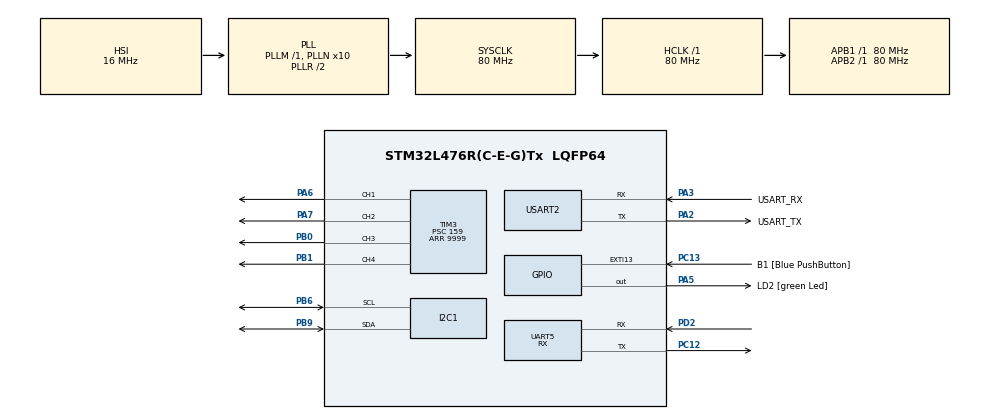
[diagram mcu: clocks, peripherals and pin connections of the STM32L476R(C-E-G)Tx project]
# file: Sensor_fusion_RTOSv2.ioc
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Dma.I2C1_RX.0.Direction=DMA_PERIPH_TO_MEMORY
Dma.I2C1_RX.0.Instance=DMA1_Channel7
Dma.I2C1_RX.0.MemDataAlignment=DMA_MDATAALIGN_BYTE
Dma.I2C1_RX.0.MemInc=DMA_MINC_ENABLE
Dma.I2C1_RX.0.Mode=DMA_NORMAL
Dma.I2C1_RX.0.PeriphDataAlignment=DMA_PDATAALIGN_BYTE
Dma.I2C1_RX.0.PeriphInc=DMA_PINC_DISABLE
Dma.I2C1_RX.0.Priority=DMA_PRIORITY_LOW
Dma.Request0=I2C1_RX
Dma.Request1=UART5_RX
Dma.UART5_RX.1.Direction=DMA_PERIPH_TO_MEMORY
Dma.UART5_RX.1.Instance=DMA2_Channel2
Dma.UART5_RX.1.MemDataAlignment=DMA_MDATAALIGN_BYTE
Dma.UART5_RX.1.MemInc=DMA_MINC_ENABLE
Dma.UART5_RX.1.Mode=DMA_CIRCULAR
Dma.UART5_RX.1.PeriphDataAlignment=DMA_PDATAALIGN_BYTE
Dma.UART5_RX.1.PeriphInc=DMA_PINC_DISABLE
Dma.UART5_RX.1.Priority=DMA_PRIORITY_LOW
FREERTOS.BinarySemaphores01=initDoneSem,Dynamic,NULL,Available
FREERTOS.Queues01=rawSensorQueue,5,uint32_t,0,Dynamic,NULL,NULL;orientationQueue,5,uint32_t,0,Dynamic,NULL,NULL;UartDMADataQueue,1,uint32_t,0,Dynamic,NULL,NULL
FREERTOS.Tasks01=SensorTask,0,1024,StartDefaultTask,Default,NULL,Dynamic,NULL,NULL;Fusion_Sensor_E,1,4096,StartTask02,Default,NULL,Dynamic,NULL,NULL;DiagnosticTask,-2,512,StartDiagnosticTask,Default,NULL,Dynamic,NULL,NULL;Control_Task,1,1024,StartControl_Task,Default,NULL,Dynamic,NULL,NULL;ComunicationTas,-1,256,StartComunicationTask,Default,NULL,Dynamic,NULL,NULL
FREERTOS.configCHECK_FOR_STACK_OVERFLOW=0
FREERTOS.configENABLE_FPU=1
FREERTOS.configGENERATE_RUN_TIME_STATS=1
FREERTOS.configTOTAL_HEAP_SIZE=50000
FREERTOS.configUSE_NEWLIB_REENTRANT=1
FREERTOS.configUSE_STATS_FORMATTING_FUNCTIONS=1
I2C1.Timing=0x10D19CE4
Mcu.Family=STM32L4
Mcu.Name=STM32L476R(C-E-G)Tx
Mcu.Package=LQFP64
NVIC.DMA1_Channel7_IRQn=true\:5\:0\:false\:false\:true\:true\:false\:true\:true
NVIC.DMA2_Channel2_IRQn=true\:5\:0\:false\:false\:true\:true\:false\:true\:true
NVIC.I2C1_ER_IRQn=true\:5\:0\:false\:false\:true\:true\:true\:true\:true
NVIC.I2C1_EV_IRQn=true\:5\:0\:false\:false\:true\:true\:true\:true\:true
NVIC.PriorityGroup=NVIC_PRIORITYGROUP_4
NVIC.TIM6_DAC_IRQn=true\:15\:0\:false\:false\:true\:false\:false\:true\:true
NVIC.TimeBase=TIM6_DAC_IRQn
NVIC.TimeBaseIP=TIM6
NVIC.UART5_IRQn=true\:5\:0\:false\:false\:true\:true\:true\:true\:true
PA13\ (JTMS-SWDIO).GPIO_Label=TMS
PA13\ (JTMS-SWDIO).Mode=Serial_Wire
PA13\ (JTMS-SWDIO).Signal=SYS_JTMS-SWDIO
PA14\ (JTCK-SWCLK).GPIO_Label=TCK
PA14\ (JTCK-SWCLK).Mode=Serial_Wire
PA14\ (JTCK-SWCLK).Signal=SYS_JTCK-SWCLK
PA2.GPIO_Label=USART_TX
PA2.GPIO_Mode=GPIO_MODE_AF_PP
PA2.GPIO_PuPd=GPIO_NOPULL
PA2.GPIO_Speed=GPIO_SPEED_FREQ_VERY_HIGH
PA2.Mode=Asynchronous
PA2.Signal=USART2_TX
PA3.GPIO_Label=USART_RX
PA3.GPIO_Mode=GPIO_MODE_AF_PP
PA3.GPIO_PuPd=GPIO_NOPULL
PA3.GPIO_Speed=GPIO_SPEED_FREQ_VERY_HIGH
PA3.Mode=Asynchronous
PA3.Signal=USART2_RX
PA5.GPIO_Label=LD2 [green Led]
PA5.GPIO_ModeDefaultOutputPP=GPIO_MODE_OUTPUT_PP
PA5.GPIO_PuPd=GPIO_NOPULL
PA5.GPIO_Speed=GPIO_SPEED_FREQ_LOW
PA5.Signal=GPIO_Output
PA6.Signal=S_TIM3_CH1
PA7.Signal=S_TIM3_CH2
PB0.Signal=S_TIM3_CH3
PB1.Signal=S_TIM3_CH4
PB3\ (JTDO-TRACESWO).GPIO_Label=SWO
PB3\ (JTDO-TRACESWO).Signal=SYS_JTDO-SWO
PB6.GPIO_Pu=GPIO_PULLUP
PB6.Mode=I2C
PB6.Signal=I2C1_SCL
PB9.GPIO_Pu=GPIO_PULLUP
PB9.Mode=I2C
PB9.Signal=I2C1_SDA
PC12.Mode=Asynchronous
PC12.Signal=UART5_TX
PC13.GPIO_Label=B1 [Blue PushButton]
PC13.GPIO_ModeDefaultEXTI=GPIO_MODE_IT_FALLING
PC13.GPIO_PuPd=GPIO_NOPULL
PC13.Signal=GPXTI13
PC14-OSC32_IN\ (PC14).Mode=LSE-External-Oscillator
PC14-OSC32_IN\ (PC14).Signal=RCC_OSC32_IN
PC15-OSC32_OUT\ (PC15).Mode=LSE-External-Oscillator
PC15-OSC32_OUT\ (PC15).Signal=RCC_OSC32_OUT
PD2.Mode=Asynchronous
PD2.Signal=UART5_RX
PH0-OSC_IN\ (PH0).Signal=RCC_OSC_IN
PH1-OSC_OUT\ (PH1).Signal=RCC_OSC_OUT
ProjectManager.HeapSize=0x200
ProjectManager.StackSize=0x400
ProjectManager.TargetToolchain=STM32CubeIDE
RCC.ADCFreq_Value=64000000
RCC.AHBFreq_Value=80000000
RCC.APB1Freq_Value=80000000
RCC.APB1TimFreq_Value=80000000
RCC.APB2Freq_Value=80000000
RCC.APB2TimFreq_Value=80000000
RCC.CortexFreq_Value=80000000
RCC.HCLKFreq_Value=80000000
RCC.HSE_VALUE=8000000
RCC.HSI_VALUE=16000000
RCC.MSI_VALUE=4000000
RCC.PLLN=10
RCC.PLLSourceVirtual=RCC_PLLSOURCE_HSI
RCC.PREFETCH_ENABLE=1
RCC.SYSCLKFreq_VALUE=80000000
RCC.SYSCLKSource=RCC_SYSCLKSOURCE_PLLCLK
RCC.USBFreq_Value=64000000
RCC.VCOOutputFreq_Value=160000000
SH.S_TIM3_CH1.0=TIM3_CH1,PWM Generation1 CH1
SH.S_TIM3_CH2.0=TIM3_CH2,PWM Generation2 CH2
SH.S_TIM3_CH3.0=TIM3_CH3,PWM Generation3 CH3
SH.S_TIM3_CH4.0=TIM3_CH4,PWM Generation4 CH4
TIM2.Prescaler=79
TIM3.Channel-PWM\ Generation1\ CH1=TIM_CHANNEL_1
TIM3.Channel-PWM\ Generation2\ CH2=TIM_CHANNEL_2
TIM3.Channel-PWM\ Generation3\ CH3=TIM_CHANNEL_3
TIM3.Channel-PWM\ Generation4\ CH4=TIM_CHANNEL_4
TIM3.Period=9999
TIM3.Prescaler=159
UART5.Mode=MODE_RX
UART5.RxPinLevelInvertParam=UART_ADVFEATURE_RXINV_DISABLE
USART2.VirtualMode-Asynchronous=VM_ASYNC
VP_FREERTOS_VS_CMSIS_V1.Mode=CMSIS_V1
VP_SYS_VS_tim6.Mode=TIM6
VP_TIM2_VS_ClockSourceINT.Mode=Internal
board=NUCLEO-L476RG

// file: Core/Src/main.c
/* USER CODE BEGIN Header */
/**
  ******************************************************************************
  * @file           : main.c
  * @brief          : Main program body
  ******************************************************************************
  * @attention
  *
  * Copyright (c) 2025 STMicroelectronics.
  * All rights reserved.
  *
  * This software is licensed under terms that can be found in the LICENSE file
  * in the root directory of this software component.
  * If no LICENSE file comes with this software, it is provided AS-IS.
  *
  ******************************************************************************
  */
/* USER CODE END Header */
#include "main.h"
#include "cmsis_os.h"
#include "dma.h"
#include "i2c.h"
#include "tim.h"
#include "usart.h"
#include "gpio.h"

void SystemClock_Config(void);
void MX_FREERTOS_Init(void);

/* USER CODE BEGIN 0 */
// Diagnoza użycia cpu
void configureTimerForRunTimeStats(void)
{

    HAL_TIM_Base_Start(&htim2);
}

uint32_t getRunTimeCounterValue(void)
{
    return __HAL_TIM_GET_COUNTER(&htim2);
}

int __io_putchar(int ch)
{
  if (ch == '\n') {
    __io_putchar('\r');
  }
  HAL_UART_Transmit(&huart2, (uint8_t*)&ch, 1, HAL_MAX_DELAY);
  return 1;
}

/* USER CODE END 0 */

int main(void)
{

  /* MCU Configuration--------------------------------------------------------*/

  /* Reset of all peripherals, Initializes the Flash interface and the Systick. */
  HAL_Init();

  /* Configure the system clock */
  SystemClock_Config();

  /* Initialize all configured peripherals */
  MX_GPIO_Init();
  MX_DMA_Init();
  MX_USART2_UART_Init();
  MX_I2C1_Init();
  MX_TIM2_Init();
  MX_TIM3_Init();
  MX_UART5_Init();

  /* Call init function for freertos objects (in cmsis_os2.c) */
  MX_FREERTOS_Init();

  /* Start scheduler */
  osKernelStart();

  /* We should never get here as control is now taken by the scheduler */

  /* Infinite loop */
  while (1)
  {

  }
}

void SystemClock_Config(void)
{
  RCC_OscInitTypeDef RCC_OscInitStruct = {0};
  RCC_ClkInitTypeDef RCC_ClkInitStruct = {0};

  /** Configure the main internal regulator output voltage
  */
  if (HAL_PWREx_ControlVoltageScaling(PWR_REGULATOR_VOLTAGE_SCALE1) != HAL_OK)
  {
    Error_Handler();
  }

  /** Initializes the RCC Oscillators according to the specified parameters
  * in the RCC_OscInitTypeDef structure.
  */
  RCC_OscInitStruct.OscillatorType = RCC_OSCILLATORTYPE_HSI;
  RCC_OscInitStruct.HSIState = RCC_HSI_ON;
  RCC_OscInitStruct.HSICalibrationValue = RCC_HSICALIBRATION_DEFAULT;
  RCC_OscInitStruct.PLL.PLLState = RCC_PLL_ON;
  RCC_OscInitStruct.PLL.PLLSource = RCC_PLLSOURCE_HSI;
  RCC_OscInitStruct.PLL.PLLM = 1;
  RCC_OscInitStruct.PLL.PLLN = 10;
  RCC_OscInitStruct.PLL.PLLP = RCC_PLLP_DIV7;
  RCC_OscInitStruct.PLL.PLLQ = RCC_PLLQ_DIV2;
  RCC_OscInitStruct.PLL.PLLR = RCC_PLLR_DIV2;
  if (HAL_RCC_OscConfig(&RCC_OscInitStruct) != HAL_OK)
  {
    Error_Handler();
  }

  /** Initializes the CPU, AHB and APB buses clocks
  */
  RCC_ClkInitStruct.ClockType = RCC_CLOCKTYPE_HCLK|RCC_CLOCKTYPE_SYSCLK
                              |RCC_CLOCKTYPE_PCLK1|RCC_CLOCKTYPE_PCLK2;
  RCC_ClkInitStruct.SYSCLKSource = RCC_SYSCLKSOURCE_PLLCLK;
  RCC_ClkInitStruct.AHBCLKDivider = RCC_SYSCLK_DIV1;
  RCC_ClkInitStruct.APB1CLKDivider = RCC_HCLK_DIV1;
  RCC_ClkInitStruct.APB2CLKDivider = RCC_HCLK_DIV1;

  if (HAL_RCC_ClockConfig(&RCC_ClkInitStruct, FLASH_LATENCY_4) != HAL_OK)
  {
    Error_Handler();
  }
}

void HAL_TIM_PeriodElapsedCallback(TIM_HandleTypeDef *htim)
{
  if (htim->Instance == TIM6)
  {
    HAL_IncTick();
  }
}

void Error_Handler(void)
{
  __disable_irq();
  while (1)
  {
  }
}

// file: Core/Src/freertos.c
/* USER CODE BEGIN Header */
/**
  ******************************************************************************
  * File Name          : freertos.c
  * Description        : Code for freertos applications
  ******************************************************************************
  * @attention
  *
  * Copyright (c) 2025 STMicroelectronics.
  * All rights reserved.
  *
  * This software is licensed under terms that can be found in the LICENSE file
  * in the root directory of this software component.
  * If no LICENSE file comes with this software, it is provided AS-IS.
  *
  ******************************************************************************
  */
/* USER CODE END Header */

#include "FreeRTOS.h"
#include "task.h"
#include "main.h"
#include "cmsis_os.h"

/* USER CODE BEGIN Includes */
#include <stdio.h>
#include "math.h"
#include "i2c_dma_manager.h"
#include "mpu6500_lib.h"
#include "Ips25hb.h"
#include "common_types.h"
#include "efk_orientation.h"
#include "ekf_altitude.h"
#include "control_task.h"

/* USER CODE END Includes */

/* USER CODE BEGIN Variables */
// Globalne uchwyty z CubeMX
extern I2C_HandleTypeDef hi2c1;
extern TIM_HandleTypeDef htim3;
extern UART_HandleTypeDef huart5;
extern osThreadId defaultTaskHandle;

const float ACCEL_SENSITIVITY = 16384.0f;
const float GYRO_SENSITIVITY = 131.0f;
const float G_CONST = 9.81f;

//Do usunięcia
volatile float g_debug_pitch_deg = 0.0f;
volatile float g_debug_roll_deg = 0.0f;
volatile float g_debug_altitude = 0.0f;
volatile float debug_pwm1 = 0.0f;
volatile float debug_pwm2 = 0.0f;
volatile float debug_pwm3 = 0.0f;
volatile float debug_pwm4 = 0.0f;
volatile float pitch_error_new = 0.0f;
volatile float pitch_error = 0.0f;

/* USER CODE END Variables */
osThreadId SensorTaskHandle;
osThreadId Fusion_Sensor_EHandle;
osThreadId DiagnosticTaskHandle;
osThreadId Control_TaskHandle;
osThreadId ComunicationTasHandle;
osMessageQId rawSensorQueueHandle;
osMessageQId orientationQueueHandle;
osMessageQId UartDMADataQueueHandle;
osSemaphoreId initDoneSemHandle;

void StartDefaultTask(void const * argument);
void StartTask02(void const * argument);
void StartDiagnosticTask(void const * argument);
void StartControl_Task(void const * argument);
void StartComunicationTask(void const * argument);

void MX_FREERTOS_Init(void); /* (MISRA C 2004 rule 8.1) */

/* GetIdleTaskMemory prototype (linked to static allocation support) */
void vApplicationGetIdleTaskMemory( StaticTask_t **ppxIdleTaskTCBBuffer, StackType_t **ppxIdleTaskStackBuffer, uint32_t *pulIdleTaskStackSize );

/* Hook prototypes */
void configureTimerForRunTimeStats(void);
unsigned long getRunTimeCounterValue(void);

/* USER CODE BEGIN 1 */
/* Functions needed when configGENERATE_RUN_TIME_STATS is on */
__weak void configureTimerForRunTimeStats(void)
{

}

__weak unsigned long getRunTimeCounterValue(void)
{
return 0;
}
/* USER CODE END 1 */

/* USER CODE BEGIN GET_IDLE_TASK_MEMORY */
static StaticTask_t xIdleTaskTCBBuffer;
static StackType_t xIdleStack[configMINIMAL_STACK_SIZE];

void vApplicationGetIdleTaskMemory( StaticTask_t **ppxIdleTaskTCBBuffer, StackType_t **ppxIdleTaskStackBuffer, uint32_t *pulIdleTaskStackSize )
{
  *ppxIdleTaskTCBBuffer = &xIdleTaskTCBBuffer;
  *ppxIdleTaskStackBuffer = &xIdleStack[0];
  *pulIdleTaskStackSize = configMINIMAL_STACK_SIZE;
  /* place for user code */
}
/* USER CODE END GET_IDLE_TASK_MEMORY */

void MX_FREERTOS_Init(void) {
  /* USER CODE BEGIN Init */
	I2C_DMA_Manager_Init();

  /* USER CODE END Init */

  /* Create the semaphores(s) */
  /* definition and creation of initDoneSem */
  osSemaphoreDef(initDoneSem);
  initDoneSemHandle = osSemaphoreCreate(osSemaphore(initDoneSem), 1);

  /* USER CODE BEGIN RTOS_SEMAPHORES */
  osSemaphoreWait(initDoneSemHandle, 0);

  /* add semaphores, ... */
  /* USER CODE END RTOS_SEMAPHORES */

  /* Create the queue(s) */
  /* definition and creation of rawSensorQueue */
  osMessageQDef(rawSensorQueue, 5, uint32_t);
  rawSensorQueueHandle = osMessageCreate(osMessageQ(rawSensorQueue), NULL);

  /* definition and creation of orientationQueue */
  osMessageQDef(orientationQueue, 5, uint32_t);
  orientationQueueHandle = osMessageCreate(osMessageQ(orientationQueue), NULL);

  /* definition and creation of UartDMADataQueue */
  osMessageQDef(UartDMADataQueue, 1, uint32_t);
  UartDMADataQueueHandle = osMessageCreate(osMessageQ(UartDMADataQueue), NULL);

  /* Create the thread(s) */
  /* definition and creation of SensorTask */
  osThreadDef(SensorTask, StartDefaultTask, osPriorityNormal, 0, 1024);
  SensorTaskHandle = osThreadCreate(osThread(SensorTask), NULL);

  /* definition and creation of Fusion_Sensor_E */
  osThreadDef(Fusion_Sensor_E, StartTask02, osPriorityAboveNormal, 0, 4096);
  Fusion_Sensor_EHandle = osThreadCreate(osThread(Fusion_Sensor_E), NULL);

  /* definition and creation of DiagnosticTask */
  osThreadDef(DiagnosticTask, StartDiagnosticTask, osPriorityLow, 0, 512);
  DiagnosticTaskHandle = osThreadCreate(osThread(DiagnosticTask), NULL);

  /* definition and creation of Control_Task */
  osThreadDef(Control_Task, StartControl_Task, osPriorityAboveNormal, 0, 1024);
  Control_TaskHandle = osThreadCreate(osThread(Control_Task), NULL);

  /* definition and creation of ComunicationTas */
  osThreadDef(ComunicationTas, StartComunicationTask, osPriorityBelowNormal, 0, 256);
  ComunicationTasHandle = osThreadCreate(osThread(ComunicationTas), NULL);

}

void StartDefaultTask(void const * argument)
{
  /* USER CODE BEGIN StartDefaultTask */
    osSemaphoreWait(initDoneSemHandle, osWaitForever);

    static volatile uint8_t mpu_dma_buffer[16];
    static volatile uint8_t lps_dma_buffer[8];

    I2C_DMA_Transaction_t mpu_transaction;
    mpu_transaction.hi2c = &hi2c1;
    mpu_transaction.task_to_notify = SensorTaskHandle;
    mpu_transaction.rx_buffer = mpu_dma_buffer;
    mpu_transaction.rx_size = 14;

    I2C_DMA_Transaction_t lps_transaction;
    lps_transaction.hi2c = &hi2c1;
    lps_transaction.task_to_notify = SensorTaskHandle;
    lps_transaction.rx_buffer = lps_dma_buffer;
    lps_transaction.rx_size = 3;

    osDelay(50);
    uint8_t i = 4;
    static RawSensorData_t sensor_data_pocket;
  /* Infinite loop */
  for(;;)
  {
	    sensor_data_pocket.baro_data_updated = 0;
	    HAL_StatusTypeDef mpu_status, lps_status;

	    // --- Odczyt MPU6500 z pętlą ponawiania próby ---
	    const int MAX_RETRIES = 3;
	    int retries = 0;

	    do {
	        mpu_status = I2C_DMA_Read(&mpu_transaction, MPU6500_I2C_ADDR, MPU6500_ACCEL_XOUT_H);
	        if (mpu_status != HAL_OK) {
	            retries++;
	            osDelay(5);
	        }
	    } while (mpu_status != HAL_OK && retries < MAX_RETRIES);

        if (mpu_status == HAL_OK) {
            sensor_data_pocket.timestamp_mpu = osKernelSysTick();
            sensor_data_pocket.ax = (int16_t)((mpu_dma_buffer[0] << 8) | mpu_dma_buffer[1]);
            sensor_data_pocket.ay = (int16_t)((mpu_dma_buffer[2] << 8) | mpu_dma_buffer[3]);
            sensor_data_pocket.az = (int16_t)((mpu_dma_buffer[4] << 8) | mpu_dma_buffer[5]);
            sensor_data_pocket.gx = (int16_t)((mpu_dma_buffer[8] << 8) | mpu_dma_buffer[9]);
            sensor_data_pocket.gy = (int16_t)((mpu_dma_buffer[10] << 8) | mpu_dma_buffer[11]);
            sensor_data_pocket.gz = (int16_t)((mpu_dma_buffer[12] << 8) | mpu_dma_buffer[13]);
        } else {
        	HAL_I2C_DeInit(mpu_transaction.hi2c);
            osDelay(10);
            HAL_I2C_Init(mpu_transaction.hi2c);
            osDelay(5);
            continue;
        }

      if(i >= 4){
          if (I2C_DMA_Read(&lps_transaction, LPS25HB_ADDR, LPS25HB_PRESS_OUT_XL | 0x80) == HAL_OK) {
              sensor_data_pocket.pressure_raw = (uint32_t)((lps_dma_buffer[2] << 16) | (lps_dma_buffer[1] << 8) | lps_dma_buffer[0]);
              sensor_data_pocket.baro_data_updated = 1;
          } else {
              // printf("LPS FAIL -> Blad odczytu DMA.\n");
          }
          i = 0;
      }
      i++;

      osMessagePut(rawSensorQueueHandle, (uint32_t)&sensor_data_pocket, 10);
      osDelay(4);
  }
  /* USER CODE END StartDefaultTask */
}

void StartTask02(void const * argument)
{
  /* USER CODE BEGIN StartTask02 */
    static float gyro_bias[3];
    static float roll_offset, pitch_offset;
    static KalmanRollPich orientation_ekf;
    static EKF_Altitude_t altitude_ekf;
    static float init_alti;

    static RawSensorData_t received_raw_data;
    static OrientationData_t processed_data;
    static uint32_t last_predict_time = 0;

    if (mpu6500_init_DMA(&hi2c1) != HAL_OK) {
        printf("KRYTYCZNY BLAD: Inicjalizacja MPU-6500\n");
        Error_Handler();
    }
    /*
    if (lps25hb_init_DMA(&hi2c1) != HAL_OK) {
        printf("KRYTYCZNY BLAD: Inicjalizacja LPS25HB\n");
        Error_Handler();
    }
    */
    if (mpu6500_calculate_orientation_offsets(&hi2c1, 500, &pitch_offset, &roll_offset) != HAL_OK) {
        Error_Handler();
    }
    if (mpu6500_calibrate_gyro_bias(&hi2c1, gyro_bias, 500) != HAL_OK) {
        Error_Handler();
    }
    /*
    if (pressureToAltitude(lps25hb_read_pressure(&hi2c1), &init_alti) != HAL_OK) {
        printf("Blad obliczania wysokosci.\n");
        Error_Handler();
    }
	*/
    float Pinit = 1.0f;
    float Q[2] = {0.001f, 0.001f};
    float R[2] = {0.03f, 0.03f};
    KalmanRollPich_init(&orientation_ekf, gyro_bias, roll_offset, pitch_offset, Pinit, Q, R);
    //EKF_Altitude_Init(&altitude_ekf, init_alti);

    osSemaphoreRelease(initDoneSemHandle);
    osEvent event;

  /* Infinite loop */
  for(;;)
  {
	event = osMessageGet(rawSensorQueueHandle, osWaitForever);

        if(event.status == osEventMessage)
        {
            memcpy(&received_raw_data, (void*)event.value.p, sizeof(RawSensorData_t));

            float dt_mpu;
            if (last_predict_time == 0) {
                dt_mpu = 0.01f;
            } else {
                dt_mpu = (float)(received_raw_data.timestamp_mpu - last_predict_time) / 1000.0f;
            }
            last_predict_time = received_raw_data.timestamp_mpu;

            float acc_mps2[3] = {
                    (float)received_raw_data.ax / ACCEL_SENSITIVITY * G_CONST,
                    (float)received_raw_data.ay / ACCEL_SENSITIVITY * G_CONST,
                    (float)received_raw_data.az / ACCEL_SENSITIVITY * G_CONST
                };
            float gyr_rps[3] = {
                    (float)received_raw_data.gx / GYRO_SENSITIVITY * (M_PI / 180.0f),
                    (float)received_raw_data.gy / GYRO_SENSITIVITY * (M_PI / 180.0f),
                    (float)received_raw_data.gz / GYRO_SENSITIVITY * (M_PI / 180.0f)
                };

            KalmanRollPich_Predict(&orientation_ekf, gyr_rps, dt_mpu);
            KalmanRollPich_Update(&orientation_ekf, acc_mps2);

      	    float acc_z_world = - acc_mps2[0] * sin(orientation_ekf.theta_rad) +
      	                      acc_mps2[1] * sin(orientation_ekf.phi_rad) * cos(orientation_ekf.theta_rad) +
      	                      acc_mps2[2] * cos(orientation_ekf.phi_rad) * cos(orientation_ekf.theta_rad);

      	    float acc_z_corrected = acc_z_world - 9.81f;

      	    EKF_Altitude_Predict(&altitude_ekf, acc_z_corrected, dt_mpu);

      	    if(received_raw_data.baro_data_updated == 1){
      	    	float baro_altitude;
      	    	float baro_pressure = received_raw_data.pressure_raw / 4096.0f;
      	    	pressureToAltitude(baro_pressure, &baro_altitude);
      	    	EKF_Altitude_Update(&altitude_ekf, baro_altitude);
      	    }

            processed_data.pitch_rad = orientation_ekf.theta_rad;
            processed_data.roll_rad = orientation_ekf.phi_rad;
            processed_data.altitude = -altitude_ekf.x[0] - init_alti;
            processed_data.gx_rps= orientation_ekf.p;
            processed_data.gy_rps= orientation_ekf.q;
            processed_data.gz_rps= orientation_ekf.r;

            g_debug_pitch_deg = processed_data.pitch_rad * 180.0f / M_PI;
            g_debug_roll_deg = processed_data.roll_rad * 180.0f / M_PI;
            g_debug_altitude = processed_data.altitude;

            osMessagePut(orientationQueueHandle, (uint32_t)&processed_data, 10);
        }

  }
  /* USER CODE END StartTask02 */
}

void StartDiagnosticTask(void const * argument)
{
  /* USER CODE BEGIN StartDiagnosticTask */
	static char pcStatsBuffer[256];
  /* Infinite loop */
  for(;;)
  {
    osDelay(6000);

    if(0){
    	  printf("--- Statystyki Czasu Wykonania Zadan ---\r\n");
    	  printf("Zadanie         \tCzas Abs. \t%% Czasu\r\n");
    	  printf("-------------------------------------------\r\n");

          vTaskGetRunTimeStats(pcStatsBuffer);

         char* ptr = pcStatsBuffer;
         while (*ptr != '\0')
         {
            if (*ptr == '\t')
            {
               *ptr = "-";
               __io_putchar(*ptr);
            }
            else
            {
                __io_putchar(*ptr);
            }
            ptr++;
         }
        printf("-------------------------------------------\r\n");
    }

  }
  /* USER CODE END StartDiagnosticTask */
}

void StartControl_Task(void const * argument)
{
  /* USER CODE BEGIN StartControl_Task */

	osEvent event;
    OrientationData_t current_state;
    UART_Data_t Uart_Comunication_Data;
    RC_Commands_t rc_commands;

	HAL_TIM_PWM_Start(&htim3, TIM_CHANNEL_1);
	HAL_TIM_PWM_Start(&htim3, TIM_CHANNEL_2);
	HAL_TIM_PWM_Start(&htim3, TIM_CHANNEL_3);
	HAL_TIM_PWM_Start(&htim3, TIM_CHANNEL_4);
	//set_motors_pwm(PWM_MIN, PWM_MIN, PWM_MIN, PWM_MIN);
	//osDelay(5000);

    osMessageGet(orientationQueueHandle, osWaitForever);
    osMessageGet(UartDMADataQueueHandle, osWaitForever);

  /* Infinite loop */
  for(;;)
  {
    // --- KROK 1: ZBIERANIE DANYCH ---
    event = osMessageGet(orientationQueueHandle, 100);
    if (event.status == osEventMessage) {
        memcpy(&current_state, (void*)event.value.p, sizeof(OrientationData_t));
    } else {
        set_motors_pwm(PWM_MIN, PWM_MIN, PWM_MIN, PWM_MIN);
        continue;
    }
     event = osMessageGet(UartDMADataQueueHandle, 0);
	 if (event.status == osEventMessage) {
	  memcpy(&Uart_Comunication_Data, (void*)event.value.p, sizeof(UART_Data_t));
	}

    read_and_map_rc_commands(&rc_commands, &Uart_Comunication_Data);

    // --- KROK 2: LOGIKA STEROWANIA ---
      if (rc_commands.throttle < THROTTLE_ARM_THRESHOLD) {
          set_motors_pwm(PWM_MIN, PWM_MIN, PWM_MIN, PWM_MIN);
          integral_roll_error = 0.0f;
          integral_pitch_error = 0.0f;
          integral_yaw_error = 0.0f;
          continue;
      }
      // --- PID value
      float kp_roll;
      float ki_roll;
      float kd_roll;

	  float kp_pitch;
	  float ki_pitch;
	  float kd_pitch;

	  float kp_yaw;
	  float ki_yaw;
	  float kd_yaw;

      if(1){
    	  kp_roll	=KP_ROLL;
		  ki_roll	=KI_ROLL;
		  kd_roll	=KD_ROLL;

		  kp_pitch	=KP_PITCH;
		  ki_pitch	=KP_PITCH;
		  kd_pitch	=KD_PITCH;

		  kp_yaw	=KP_YAW;
		  ki_yaw	=KI_YAW;
		  kd_yaw	=KD_YAW;
      }else{
    	  kp_roll	=map(Uart_Comunication_Data.vrA, 1000, 2000, 0, 150);
		  ki_roll	=KI_ROLL;
		  kd_roll	=map(Uart_Comunication_Data.vrB, 1000, 2000, 0, 100);

		  kp_pitch	=KP_PITCH;
		  ki_pitch	=KP_PITCH;
		  kd_pitch	=KD_PITCH;

		  kp_yaw	=KP_YAW;
		  ki_yaw	=KI_YAW;
		  kd_yaw	=KD_YAW;
      }

      // --- Obliczenia PID dla każdej osi ---
      // ROLL
      float roll_error = rc_commands.roll_desired_rad - current_state.roll_rad;
      if (fabsf(roll_error) < 0.02f) {
          roll_error = 0.0f;
      }
      integral_roll_error += ki_roll * roll_error * CONTROL_LOOP_PERIOD_S;
      integral_roll_error = constrain(integral_roll_error, -INTEGRAL_LIMIT_RP, INTEGRAL_LIMIT_RP);
      float derivative_roll = -kd_roll * current_state.gx_rps;
      float roll_torque_cmd = kp_roll * roll_error + integral_roll_error + derivative_roll;

      // PITCH
      pitch_error = rc_commands.pitch_desired_rad - current_state.pitch_rad;
      if (fabsf(pitch_error) < 0.02f) {
          pitch_error = 0.0f;
      }

      integral_pitch_error += KI_PITCH * pitch_error * CONTROL_LOOP_PERIOD_S;
      integral_pitch_error = constrain(integral_pitch_error, -INTEGRAL_LIMIT_RP, INTEGRAL_LIMIT_RP);
      float derivative_pitch = -KD_PITCH * current_state.gy_rps;
      float pitch_torque_cmd = KP_PITCH * pitch_error + integral_pitch_error + derivative_pitch;
/*
      // YAW
      // Błąd kąta yaw musi uwzględniać "zawijanie" (np. błąd między -170 a +170 to 20 stopni, a nie 340)
      float yaw_error = rc_commands.yaw_desired_rad - current_state.yaw_rad; // current_state.yaw_rad musi być dostarczone z EKF
      if (yaw_error > M_PI) yaw_error -= 2.0f * M_PI;
      if (yaw_error < -M_PI) yaw_error += 2.0f * M_PI;

      integral_yaw_error += KI_YAW * yaw_error * CONTROL_LOOP_PERIOD_S;
      integral_yaw_error = constrain(integral_yaw_error, -INTEGRAL_LIMIT_YAW, INTEGRAL_LIMIT_YAW);
      float derivative_yaw = -KD_YAW * current_state.gz_rps;
      float yaw_torque_cmd = KP_YAW * yaw_error + integral_yaw_error + derivative_yaw;
*/

      // --- KROK 3: MIKSER I WYJŚCIE ---
      float base_throttle_pwm = map(rc_commands.throttle, 0.0f, 1.0f, PWM_ARMED_MIN, PWM_MAX);
      /* 		Z YAW
      uint16_t pwm1 = (uint16_t)(base_throttle_pwm + pitch_torque_cmd + roll_torque_cmd - yaw_torque_cmd);
      uint16_t pwm2 = (uint16_t)(base_throttle_pwm - pitch_torque_cmd + roll_torque_cmd + yaw_torque_cmd);
      uint16_t pwm3 = (uint16_t)(base_throttle_pwm - pitch_torque_cmd - roll_torque_cmd - yaw_torque_cmd);
      uint16_t pwm4 = (uint16_t)(base_throttle_pwm + pitch_torque_cmd - roll_torque_cmd + yaw_torque_cmd);
	  */

      uint16_t pwm1 = (uint16_t)(base_throttle_pwm + pitch_torque_cmd + roll_torque_cmd);
      uint16_t pwm2 = (uint16_t)(base_throttle_pwm - pitch_torque_cmd + roll_torque_cmd - 0.0f);
      uint16_t pwm3 = (uint16_t)(base_throttle_pwm - pitch_torque_cmd - roll_torque_cmd - 0.0f);
      uint16_t pwm4 = (uint16_t)(base_throttle_pwm + pitch_torque_cmd - roll_torque_cmd - 0.0f);

      if(Uart_Comunication_Data.swA==1000)
      {
    	  pwm1=PWM_MIN;
    	  pwm2=PWM_MIN;
    	  pwm3=PWM_MIN;
    	  pwm4=PWM_MIN;
      }

      debug_pwm1 = (float)pwm1;
      debug_pwm2 = (float)pwm2;
      debug_pwm3 = (float)pwm3;
      debug_pwm4 = (float)pwm4;

      // Konfiguracja "X"
         // Motor 1 (prawy-przód): +roll, +pitch
         // Motor 2 (prawy-tył): +roll, -pitch
         // Motor 3 (lewy-tył): -roll, -pitch
         // Motor 4 (lewy-przód): -roll, +pitch

      // Ogranicz wartości PWM do bezpiecznego zakresu
      pwm1 = constrain(pwm1, PWM_ARMED_MIN, 900);
      pwm2 = constrain(pwm2, PWM_ARMED_MIN, 900);
      pwm3 = constrain(pwm3, PWM_ARMED_MIN, 900);
      pwm4 = constrain(pwm4, PWM_ARMED_MIN, 900);

      set_motors_pwm(pwm1, pwm2, pwm3, pwm4);

  }
  /* USER CODE END StartControl_Task */
}

void StartComunicationTask(void const * argument)
{
  /* USER CODE BEGIN StartComunicationTask */
	static uint8_t RxData[64];
	static UART_Data_t Uart_Comunication_Data;
	HAL_UART_Receive_DMA(&huart5, RxData, 32);

  /* Infinite loop */
  for(;;)
  {
	      uint32_t notification_value = ulTaskNotifyTake(pdTRUE, pdMS_TO_TICKS(100));

	      if (notification_value > 0) {
	          int start_byte_index = -1;

	          for (int i = 0; i < 31; i++) {
	              if (RxData[i] == 0x20 && RxData[i+1] == 0x40) {
	                  start_byte_index = i;
	                  break;
	              }
	          }

	          if (start_byte_index == -1) {
	              HAL_UART_Receive_DMA(&huart5, RxData, 32);
	              continue;
	          }

	          uint16_t checksum_calculated = 0xFFFF;
	          for (int i = 0; i < 30; i++) {
	              checksum_calculated -= RxData[(start_byte_index + i) % 32];
	          }
	          uint16_t checksum_received = (uint16_t)(RxData[(start_byte_index + 31) % 32] << 8 | RxData[(start_byte_index + 30) % 32]);

	          if (checksum_calculated != checksum_received) {
	              HAL_UART_Receive_DMA(&huart5, RxData, 32);
	              continue;
	          }

	          uint16_t channels[14];
	          for(int i = 0; i < 14; i++) {
	              int lsb_index = (start_byte_index + 2 + i * 2) % 32;
	              int msb_index = (start_byte_index + 3 + i * 2) % 32;
	              channels[i] = (uint16_t)((RxData[msb_index] << 8) | RxData[lsb_index]);
	          }

	          Uart_Comunication_Data.roll     = channels[0];
	          Uart_Comunication_Data.pitch    = channels[1];
	          Uart_Comunication_Data.throttle = channels[2];
	          Uart_Comunication_Data.yaw      = channels[3];
	          Uart_Comunication_Data.swA      = channels[4];
	          Uart_Comunication_Data.swB      = channels[5];
	          Uart_Comunication_Data.swC      = channels[6];
	          Uart_Comunication_Data.swD      = channels[7];
	          Uart_Comunication_Data.vrA      = channels[8];
	          Uart_Comunication_Data.vrB      = channels[9];

	          osMessagePut(UartDMADataQueueHandle, (uint32_t)&Uart_Comunication_Data, 0);

	          HAL_UART_Receive_DMA(&huart5, RxData, 32);

	      } else {
	          printf("comunication task timeout\n");
	          HAL_UART_AbortReceive(&huart5);
	          HAL_UART_Receive_DMA(&huart5, RxData, 32);
	      }
  }
  /* USER CODE END StartComunicationTask */
}
